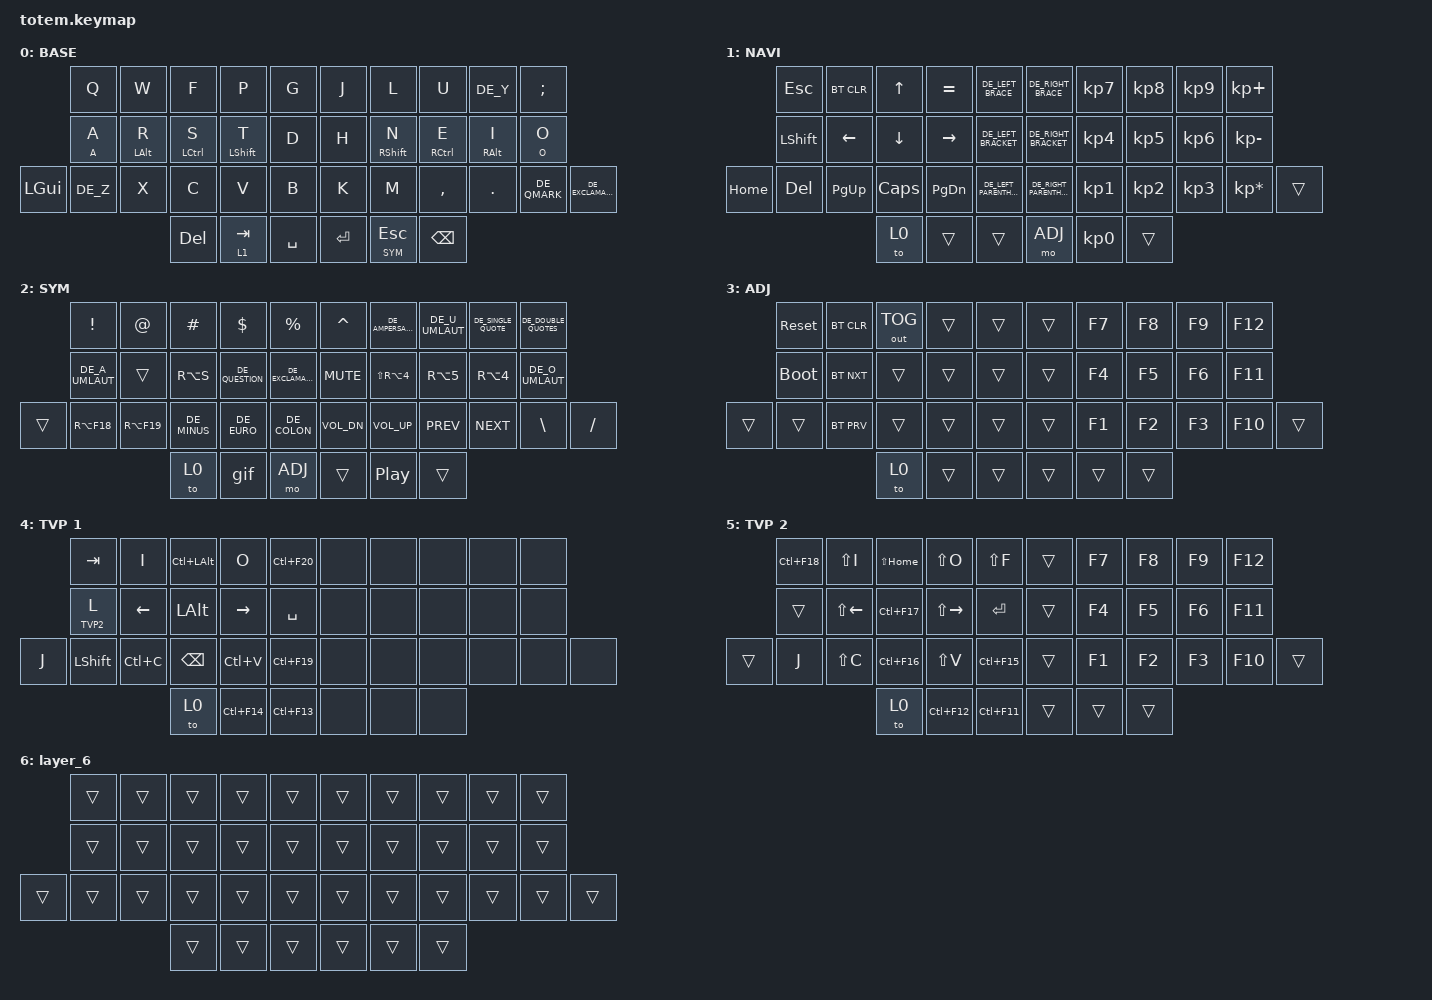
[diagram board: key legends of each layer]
//
//                                                        ▀▀▀▀▀     ▀▀▀▀▀          ▀▀█▀▀
//                                                        ▄▀▀▀▄  ▄  ▄▀▀▀▄  ▄  ▄▀▀▀▄  █  ▄▀▀▀▄
//                                                        █   █  █  █   █  █  █   █  █  █   █
//                                                         ▀▀▀   █   ▀▀▀   █   ▀▀▀   ▀   ▀▀▀
//                                                               █      ▄▄▄█▄▄▄    █   █  
//                                                               ▀      █  █  █     █▄█
//                                                             ▀▀▀▀▀    █  █  █      ▀
//                                                                      ▀  ▀  ▀
//
// ▄▄▄▄▄▄▄▄▄▄▄▄▄▄▄▄▄▄▄▄▄▄▄▄▄▄▄▄▄▄▄▄▄▄▄▄▄▄▄▄▄▄▄▄▄▄▄▄▄▄▄▄▄▄▄▄▄▄▄▄▄▄▄▄▄▄▄▄▄▄▄▄▄▄▄▄▄▄▄▄▄▄▄▄▄▄▄▄▄▄▄▄▄▄▄▄▄▄▄▄▄▄▄▄▄▄▄▄▄▄▄▄▄▄▄▄▄▄▄▄▄▄▄▄▄▄▄▄▄▄▄▄▄▄▄▄▄▄▄▄▄▄▄▄▄▄▄▄▄

#include <behaviors.dtsi>
#include <dt-bindings/zmk/bt.h>
#include <dt-bindings/zmk/keys.h>
#include <dt-bindings/zmk/outputs.h>
#include "keys_de.h"

#define BASE 0
#define NAV  1
#define SYM  2
#define ADJ  3
#define TVP1 4
#define TVP2 5

&mt {
    quick-tap-ms = <100>;
    global-quick-tap;
    flavor = "tap-preferred";
    tapping-term-ms = <170>;
};

/ {
    combos {
        compatible = "zmk,combos";

        combo_esc {
            timeout-ms = <50>;
            key-positions = <0 1>;
            bindings = <&kp ESC>;
        };

        combo_tvp {
            timeout-ms = <100>;
            key-positions = <11 12 13>;
            bindings = <&tog TVP1>;
        };
    };

    macros {
        gif: gif {
            label = "giphy";
            compatible = "zmk,behavior-macro";
            #binding-cells = <0>;
            bindings =
                <&macro_press>,
                <&kp LSHFT>,
                <&macro_tap>,
                <&kp N2>,
                <&macro_release>,
                <&kp LSHFT>,
                <&macro_tap>,
                <&kp G &kp I &kp F>;
        };
    };

    keymap {
        compatible = "zmk,keymap";

        // ▄▄▄▄▄▄▄▄▄▄▄▄▄▄▄▄▄▄▄▄▄▄▄▄▄▄▄▄▄▄▄▄▄▄▄▄▄▄▄▄▄▄▄▄▄▄▄▄▄▄▄▄▄▄▄▄▄▄▄▄▄▄▄▄▄▄▄▄▄▄▄▄▄▄▄▄▄▄▄▄▄▄▄▄▄▄▄▄▄▄▄▄▄▄▄▄▄▄▄▄▄▄▄▄▄▄▄▄▄▄▄▄▄▄▄▄▄▄▄▄▄▄▄▄▄▄▄▄▄▄▄▄▄▄▄▄▄▄▄▄▄▄▄▄▄▄▄▄▄

        base_layer {
            // ┏━━━━━━━━━━━━━━━━━━━━━━━━━━━━━━━━━━━━━━━┓

            label = "BASE";

            // ┗━━━━━━━━━━━━━━━━━━━━━━━━━━━━━━━━━━━━━━━┛
            //             ┏━━━━━━━━━━━┳━━━━━━━━━━━┳━━━━━━━━━━━┳━━━━━━━━━━━┳━━━━━━━━━━━┓   ┏━━━━━━━━━━━┳━━━━━━━━━━━┳━━━━━━━━━━━┳━━━━━━━━━━━┳━━━━━━━━━━━┓
            //             ┃     Q     ┃     W     ┃     F     ┃     P     ┃     G     ┃   ┃     J     ┃     L     ┃     U     ┃     Y     ┃     ;     ┃
            //             ┣━━━━━━━━━━━╋━━━━━━━━━━━╋━━━━━━━━━━━╋━━━━━━━━━━━╋━━━━━━━━━━━┫   ┣━━━━━━━━━━━╋━━━━━━━━━━━╋━━━━━━━━━━━╋━━━━━━━━━━━╋━━━━━━━━━━━┫
            //             ┃     A     ┃     R     ┃     S     ┃     T     ┃     D     ┃   ┃     H     ┃     N     ┃     E     ┃     I     ┃     O     ┃
            // ┏━━━━━━━━━━━╋━━━━━━━━━━━╋━━━━━━━━━━━╋━━━━━━━━━━━╋━━━━━━━━━━━╋━━━━━━━━━━━┫   ┣━━━━━━━━━━━╋━━━━━━━━━━━╋━━━━━━━━━━━╋━━━━━━━━━━━╋━━━━━━━━━━━╋━━━━━━━━━━━┓
            // ┃     Q     ┃     Z     ┃     X     ┃     C     ┃     V     ┃     B     ┃   ┃     K     ┃     M     ┃     ,     ┃     .     ┃     /     ┃     \     ┃
            // ┗━━━━━━━━━━━┻━━━━━━━━━━━┻━━━━━━━━━━━╋━━━━━━━━━━━╋━━━━━━━━━━━╋━━━━━━━━━━━┫   ┣━━━━━━━━━━━╋━━━━━━━━━━━╋━━━━━━━━━━━╋━━━━━━━━━━━┻━━━━━━━━━━━┻━━━━━━━━━━━┛
            //                                     ┃    DEL    ┃    TAB    ┃    SPC    ┃   ┃   ENTER   ┃           ┃   BSPC    ┃
            //                                     ┗━━━━━━━━━━━┻━━━━━━━━━━━┻━━━━━━━━━━━┛   ┗━━━━━━━━━━━┻━━━━━━━━━━━┻━━━━━━━━━━━┛

            bindings = <
              &kp Q     &kp W       &kp F        &kp P        &kp G        &kp J    &kp L        &kp U        &kp DE_Y    &kp SEMI
              &mt A A   &mt LALT R  &mt LCTRL S  &mt LSHFT T  &kp D        &kp H    &mt RSHFT N  &mt RCTRL E  &mt RALT I  &mt O O
&kp LEFT_GUI  &kp DE_Z  &kp X       &kp C        &kp V        &kp B        &kp K    &kp M        &kp COMMA    &kp DOT     &kp DE_QMARK  &kp DE_EXCLAMATION
                                    &kp DEL      &lt 1 TAB    &kp SPACE    &kp RET  &lt SYM ESC  &kp BSPC
            >;
        };

        // ▄▄▄▄▄▄▄▄▄▄▄▄▄▄▄▄▄▄▄▄▄▄▄▄▄▄▄▄▄▄▄▄▄▄▄▄▄▄▄▄▄▄▄▄▄▄▄▄▄▄▄▄▄▄▄▄▄▄▄▄▄▄▄▄▄▄▄▄▄▄▄▄▄▄▄▄▄▄▄▄▄▄▄▄▄▄▄▄▄▄▄▄▄▄▄▄▄▄▄▄▄▄▄▄▄▄▄▄▄▄▄▄▄▄▄▄▄▄▄▄▄▄▄▄▄▄▄▄▄▄▄▄▄▄▄▄▄▄▄▄▄▄▄▄▄▄▄▄▄

        nav_layer {
            // ┏━━━━━━━━━━━━━━━━━━━━━━━━━━━━━━━━━━━━━━━┓

            label = "NAVI";

            // ┗━━━━━━━━━━━━━━━━━━━━━━━━━━━━━━━━━━━━━━━┛
            //             ┏━━━━━━━━━━━┳━━━━━━━━━━━┳━━━━━━━━━━━┳━━━━━━━━━━━┳━━━━━━━━━━━┓   ┏━━━━━━━━━━━┳━━━━━━━━━━━┳━━━━━━━━━━━┳━━━━━━━━━━━┳━━━━━━━━━━━┓
            //             ┃           ┃           ┃     UP    ┃           ┃     {     ┃   ┃     }     ┃     7     ┃     8     ┃     9     ┃     +     ┃
            //             ┣━━━━━━━━━━━╋━━━━━━━━━━━╋━━━━━━━━━━━╋━━━━━━━━━━━╋━━━━━━━━━━━┫   ┣━━━━━━━━━━━╋━━━━━━━━━━━╋━━━━━━━━━━━╋━━━━━━━━━━━╋━━━━━━━━━━━┫
            //             ┃   SHIFT   ┃   LEFT    ┃    DOWN   ┃   RIGHT   ┃     [     ┃   ┃     ]     ┃     4     ┃     5     ┃     6     ┃     -     ┃
            // ┏━━━━━━━━━━━╋━━━━━━━━━━━╋━━━━━━━━━━━╋━━━━━━━━━━━╋━━━━━━━━━━━╋━━━━━━━━━━━┫   ┣━━━━━━━━━━━╋━━━━━━━━━━━╋━━━━━━━━━━━╋━━━━━━━━━━━╋━━━━━━━━━━━╋━━━━━━━━━━━┓
            // ┃           ┃           ┃   P UP    ┃  C LOCK   ┃  P DOWN   ┃     (     ┃   ┃     )     ┃     1     ┃     2     ┃     3     ┃     *     ┃           ┃
            // ┗━━━━━━━━━━━┻━━━━━━━━━━━┻━━━━━━━━━━━╋━━━━━━━━━━━╋━━━━━━━━━━━╋━━━━━━━━━━━┫   ┣━━━━━━━━━━━╋━━━━━━━━━━━╋━━━━━━━━━━━╋━━━━━━━━━━━┻━━━━━━━━━━━┻━━━━━━━━━━━┛
            //                                     ┃           ┃    TAB    ┃    SPC    ┃   ┃    DEL    ┃     0     ┃           ┃
            //                                     ┗━━━━━━━━━━━┻━━━━━━━━━━━┻━━━━━━━━━━━┛   ┗━━━━━━━━━━━┻━━━━━━━━━━━┻━━━━━━━━━━━┛

            bindings = <
          &kp ESC    &bt BT_CLR  &kp UP    &kp EQUAL  &kp DE_LEFT_BRACE          &kp DE_RIGHT_BRACE        &kp KP_N7  &kp KP_N8  &kp KP_N9  &kp KP_PLUS
          &kp LSHFT  &kp LEFT    &kp DOWN  &kp RIGHT  &kp DE_LEFT_BRACKET        &kp DE_RIGHT_BRACKET      &kp KP_N4  &kp KP_N5  &kp KP_N6  &kp KP_MINUS
&kp HOME  &kp DEL    &kp PG_UP   &kp CAPS  &kp PG_DN  &kp DE_LEFT_PARENTHESIS    &kp DE_RIGHT_PARENTHESIS  &kp KP_N1  &kp KP_N2  &kp KP_N3  &kp KP_MULTIPLY  &trans
                                 &to 0     &trans     &trans                     &mo ADJ                   &kp KP_N0  &trans
            >;
        };

        // ▄▄▄▄▄▄▄▄▄▄▄▄▄▄▄▄▄▄▄▄▄▄▄▄▄▄▄▄▄▄▄▄▄▄▄▄▄▄▄▄▄▄▄▄▄▄▄▄▄▄▄▄▄▄▄▄▄▄▄▄▄▄▄▄▄▄▄▄▄▄▄▄▄▄▄▄▄▄▄▄▄▄▄▄▄▄▄▄▄▄▄▄▄▄▄▄▄▄▄▄▄▄▄▄▄▄▄▄▄▄▄▄▄▄▄▄▄▄▄▄▄▄▄▄▄▄▄▄▄▄▄▄▄▄▄▄▄▄▄▄▄▄▄▄▄▄▄▄▄

        sim_layer {
            // ┏━━━━━━━━━━━━━━━━━━━━━━━━━━━━━━━━━━━━━━━┓

            label = "SYM";

            // ┗━━━━━━━━━━━━━━━━━━━━━━━━━━━━━━━━━━━━━━━┛
            //             ┏━━━━━━━━━━━┳━━━━━━━━━━━┳━━━━━━━━━━━┳━━━━━━━━━━━┳━━━━━━━━━━━┓   ┏━━━━━━━━━━━┳━━━━━━━━━━━┳━━━━━━━━━━━┳━━━━━━━━━━━┳━━━━━━━━━━━┓
            //             ┃     !     ┃     @     ┃     #     ┃     $     ┃     %     ┃   ┃     ˆ     ┃     &     ┃     Ü     ┃     '     ┃     "     ┃
            //             ┣━━━━━━━━━━━╋━━━━━━━━━━━╋━━━━━━━━━━━╋━━━━━━━━━━━╋━━━━━━━━━━━┫   ┣━━━━━━━━━━━╋━━━━━━━━━━━╋━━━━━━━━━━━╋━━━━━━━━━━━╋━━━━━━━━━━━┫
            //             ┃     Ä     ┃           ┃    SZ     ┃           ┃           ┃   ┃   MUTE    ┃   YEN     ┃   EURO    ┃  POUND    ┃     Ö     ┃
            // ┏━━━━━━━━━━━╋━━━━━━━━━━━╋━━━━━━━━━━━╋━━━━━━━━━━━╋━━━━━━━━━━━╋━━━━━━━━━━━┫   ┣━━━━━━━━━━━╋━━━━━━━━━━━╋━━━━━━━━━━━╋━━━━━━━━━━━╋━━━━━━━━━━━╋━━━━━━━━━━━┓
            // ┃           ┃  EMAIL1   ┃  EMAIL2   ┃           ┃           ┃           ┃   ┃   VOL-    ┃   VOL+    ┃   LAST    ┃   NEXT    ┃     \     ┃           ┃
            // ┗━━━━━━━━━━━┻━━━━━━━━━━━┻━━━━━━━━━━━╋━━━━━━━━━━━╋━━━━━━━━━━━╋━━━━━━━━━━━┫   ┣━━━━━━━━━━━╋━━━━━━━━━━━╋━━━━━━━━━━━╋━━━━━━━━━━━┻━━━━━━━━━━━┻━━━━━━━━━━━┛
            //                                     ┃           ┃    GIF    ┃    ADJ    ┃   ┃           ┃           ┃           ┃
            //                                     ┗━━━━━━━━━━━┻━━━━━━━━━━━┻━━━━━━━━━━━┛   ┗━━━━━━━━━━━┻━━━━━━━━━━━┻━━━━━━━━━━━┛

            bindings = <
        &kp EXCL         &kp AT       &kp HASH      &kp DLLR         &kp PRCNT             &kp CARET     &kp DE_AMPERSAND  &kp DE_U_UMLAUT  &kp DE_SINGLE_QUOTE  &kp DE_DOUBLE_QUOTES
        &kp DE_A_UMLAUT  &trans       &kp RA(S)     &kp DE_QUESTION  &kp DE_EXCLAMATION    &kp C_MUTE    &kp LS(RA(N4))    &kp RA(N5)       &kp RA(N4)           &kp DE_O_UMLAUT
&trans  &kp RA(F18)      &kp RA(F19)  &kp DE_MINUS  &kp DE_EURO      &kp DE_COLON          &kp C_VOL_DN  &kp C_VOL_UP      &kp C_PREV       &kp C_NEXT           &kp BSLH              &kp SLASH
                                      &to 0         &gif             &mo ADJ               &trans        &kp C_PP          &trans
            >;
        };

        // ▄▄▄▄▄▄▄▄▄▄▄▄▄▄▄▄▄▄▄▄▄▄▄▄▄▄▄▄▄▄▄▄▄▄▄▄▄▄▄▄▄▄▄▄▄▄▄▄▄▄▄▄▄▄▄▄▄▄▄▄▄▄▄▄▄▄▄▄▄▄▄▄▄▄▄▄▄▄▄▄▄▄▄▄▄▄▄▄▄▄▄▄▄▄▄▄▄▄▄▄▄▄▄▄▄▄▄▄▄▄▄▄▄▄▄▄▄▄▄▄▄▄▄▄▄▄▄▄▄▄▄▄▄▄▄▄▄▄▄▄▄▄▄▄▄▄▄▄▄

        adjust_layer {
            // ┏━━━━━━━━━━━━━━━━━━━━━━━━━━━━━━━━━━━━━━━┓

            label = "ADJ";

            // ┗━━━━━━━━━━━━━━━━━━━━━━━━━━━━━━━━━━━━━━━┛
            //             ┏━━━━━━━━━━━┳━━━━━━━━━━━┳━━━━━━━━━━━┳━━━━━━━━━━━┳━━━━━━━━━━━┓   ┏━━━━━━━━━━━┳━━━━━━━━━━━┳━━━━━━━━━━━┳━━━━━━━━━━━┳━━━━━━━━━━━┓
            //             ┃   RESET   ┃ BT CLEAR  ┃  OUT TOG  ┃           ┃           ┃   ┃           ┃    F7     ┃    F8     ┃    F9     ┃    F12    ┃
            //             ┣━━━━━━━━━━━╋━━━━━━━━━━━╋━━━━━━━━━━━╋━━━━━━━━━━━╋━━━━━━━━━━━┫   ┣━━━━━━━━━━━╋━━━━━━━━━━━╋━━━━━━━━━━━╋━━━━━━━━━━━╋━━━━━━━━━━━┫
            //             ┃ BOOTLOAD  ┃ BT NEXT   ┃           ┃           ┃           ┃   ┃           ┃    F4     ┃    F5     ┃    F6     ┃    F11    ┃
            // ┏━━━━━━━━━━━╋━━━━━━━━━━━╋━━━━━━━━━━━╋━━━━━━━━━━━╋━━━━━━━━━━━╋━━━━━━━━━━━┫   ┣━━━━━━━━━━━╋━━━━━━━━━━━╋━━━━━━━━━━━╋━━━━━━━━━━━╋━━━━━━━━━━━╋━━━━━━━━━━━┓
            // ┃           ┃           ┃ BT PREV   ┃           ┃           ┃           ┃   ┃           ┃    F1     ┃    F2     ┃    F3     ┃    F10    ┃           ┃
            // ┗━━━━━━━━━━━┻━━━━━━━━━━━┻━━━━━━━━━━━╋━━━━━━━━━━━╋━━━━━━━━━━━╋━━━━━━━━━━━┫   ┣━━━━━━━━━━━╋━━━━━━━━━━━╋━━━━━━━━━━━╋━━━━━━━━━━━┻━━━━━━━━━━━┻━━━━━━━━━━━┛
            //                                     ┃           ┃           ┃           ┃   ┃           ┃           ┃           ┃
            //                                     ┗━━━━━━━━━━━┻━━━━━━━━━━━┻━━━━━━━━━━━┛   ┗━━━━━━━━━━━┻━━━━━━━━━━━┻━━━━━━━━━━━┛

            bindings = <
        &sys_reset   &bt BT_CLR  &out OUT_TOG  &trans  &trans    &trans  &kp F7  &kp F8  &kp F9  &kp F12
        &bootloader  &bt BT_NXT  &trans        &trans  &trans    &trans  &kp F4  &kp F5  &kp F6  &kp F11
&trans  &trans       &bt BT_PRV  &trans        &trans  &trans    &trans  &kp F1  &kp F2  &kp F3  &kp F10  &trans
                                 &to 0         &trans  &trans    &trans  &trans  &trans
            >;
        };

        // ▄▄▄▄▄▄▄▄▄▄▄▄▄▄▄▄▄▄▄▄▄▄▄▄▄▄▄▄▄▄▄▄▄▄▄▄▄▄▄▄▄▄▄▄▄▄▄▄▄▄▄▄▄▄▄▄▄▄▄▄▄▄▄▄▄▄▄▄▄▄▄▄▄▄▄▄▄▄▄▄▄▄▄▄▄▄▄▄▄▄▄▄▄▄▄▄▄▄▄▄▄▄▄▄▄▄▄▄▄▄▄▄▄▄▄▄▄▄▄▄▄▄▄▄▄▄▄▄▄▄▄▄▄▄▄▄▄▄▄▄▄▄▄▄▄▄▄▄▄

        tvp1_layer {
            // ┏━━━━━━━━━━━━━━━━━━━━━━━━━━━━━━━━━━━━━━━┓

            label = "TVP 1";

            // ┗━━━━━━━━━━━━━━━━━━━━━━━━━━━━━━━━━━━━━━━┛
            //             ┏━━━━━━━━━━━┳━━━━━━━━━━━┳━━━━━━━━━━━┳━━━━━━━━━━━┳━━━━━━━━━━━┓   ┏━━━━━━━━━━━┳━━━━━━━━━━━┳━━━━━━━━━━━┳━━━━━━━━━━━┳━━━━━━━━━━━┓
            //             ┃ NEXT FILE ┃ MARK IN   ┃ ROTATE    ┃ MARK OUT  ┃ SHOW SNAP ┃   ┃           ┃           ┃           ┃           ┃           ┃
            //             ┣━━━━━━━━━━━╋━━━━━━━━━━━╋━━━━━━━━━━━╋━━━━━━━━━━━╋━━━━━━━━━━━┫   ┣━━━━━━━━━━━╋━━━━━━━━━━━╋━━━━━━━━━━━╋━━━━━━━━━━━╋━━━━━━━━━━━┫
            //             ┃ TVP II    ┃ LEFT      ┃ PAN       ┃ RIGHT     ┃ PLAY/FLIP ┃   ┃           ┃           ┃           ┃           ┃           ┃
            // ┏━━━━━━━━━━━╋━━━━━━━━━━━╋━━━━━━━━━━━╋━━━━━━━━━━━╋━━━━━━━━━━━╋━━━━━━━━━━━┫   ┣━━━━━━━━━━━╋━━━━━━━━━━━╋━━━━━━━━━━━╋━━━━━━━━━━━╋━━━━━━━━━━━╋━━━━━━━━━━━┓
            // ┃ FULLSCR   ┃ SHIFT     ┃ COPY      ┃ DELETE    ┃ PASTE     ┃ IMG MARK  ┃   ┃           ┃           ┃           ┃           ┃           ┃           ┃
            // ┗━━━━━━━━━━━┻━━━━━━━━━━━┻━━━━━━━━━━━╋━━━━━━━━━━━╋━━━━━━━━━━━╋━━━━━━━━━━━┫   ┣━━━━━━━━━━━╋━━━━━━━━━━━╋━━━━━━━━━━━╋━━━━━━━━━━━┻━━━━━━━━━━━┻━━━━━━━━━━━┛
            //                                     ┃           ┃ UNDO/SAVE ┃  SEL/MOV  ┃   ┃           ┃           ┃           ┃
            //                                     ┗━━━━━━━━━━━┻━━━━━━━━━━━┻━━━━━━━━━━━┛   ┗━━━━━━━━━━━┻━━━━━━━━━━━┻━━━━━━━━━━━┛

            bindings = <
       &kp TAB     &kp I      &kp LC(LALT)  &kp O        &kp LC(F20)    &none  &none  &none  &none  &none
       &lt TVP2 L  &kp LEFT   &kp LALT      &kp RIGHT    &kp SPACE      &none  &none  &none  &none  &none
&kp J  &kp LSHFT   &kp LC(C)  &kp BSPC      &kp LC(V)    &kp LC(F19)    &none  &none  &none  &none  &none  &none
                              &to 0         &kp LC(F14)  &kp LC(F13)    &none  &none  &none
            >;
        };

        // ▄▄▄▄▄▄▄▄▄▄▄▄▄▄▄▄▄▄▄▄▄▄▄▄▄▄▄▄▄▄▄▄▄▄▄▄▄▄▄▄▄▄▄▄▄▄▄▄▄▄▄▄▄▄▄▄▄▄▄▄▄▄▄▄▄▄▄▄▄▄▄▄▄▄▄▄▄▄▄▄▄▄▄▄▄▄▄▄▄▄▄▄▄▄▄▄▄▄▄▄▄▄▄▄▄▄▄▄▄▄▄▄▄▄▄▄▄▄▄▄▄▄▄▄▄▄▄▄▄▄▄▄▄▄▄▄▄▄▄▄▄▄▄▄▄▄▄▄▄

        tvp2_layer {
            // ┏━━━━━━━━━━━━━━━━━━━━━━━━━━━━━━━━━━━━━━━┓

            label = "TVP 2";

            // ┗━━━━━━━━━━━━━━━━━━━━━━━━━━━━━━━━━━━━━━━┛
            //             ┏━━━━━━━━━━━┳━━━━━━━━━━━┳━━━━━━━━━━━┳━━━━━━━━━━━┳━━━━━━━━━━━┓   ┏━━━━━━━━━━━┳━━━━━━━━━━━┳━━━━━━━━━━━┳━━━━━━━━━━━┳━━━━━━━━━━━┓
            //             ┃ SOLO      ┃ TOGGLE IN ┃ RESET ROT ┃ TOGGLE OUT┃ TAKE SNAP ┃   ┃           ┃           ┃           ┃           ┃           ┃
            //             ┣━━━━━━━━━━━╋━━━━━━━━━━━╋━━━━━━━━━━━╋━━━━━━━━━━━╋━━━━━━━━━━━┫   ┣━━━━━━━━━━━╋━━━━━━━━━━━╋━━━━━━━━━━━╋━━━━━━━━━━━╋━━━━━━━━━━━┫
            //             ┃ ---       ┃ LAST KEY  ┃ NEW KEY   ┃ NEXT KEY  ┃ ENTER     ┃   ┃           ┃           ┃           ┃           ┃           ┃
            // ┏━━━━━━━━━━━╋━━━━━━━━━━━╋━━━━━━━━━━━╋━━━━━━━━━━━╋━━━━━━━━━━━╋━━━━━━━━━━━┫   ┣━━━━━━━━━━━╋━━━━━━━━━━━╋━━━━━━━━━━━╋━━━━━━━━━━━╋━━━━━━━━━━━╋━━━━━━━━━━━┓
            // ┃           ┃ FULLSCR   ┃ CPY2BRUSH ┃ DEL HEAD  ┃ PSTinPLACE┃ BOOK MARK ┃   ┃           ┃           ┃           ┃           ┃           ┃           ┃
            // ┗━━━━━━━━━━━┻━━━━━━━━━━━┻━━━━━━━━━━━╋━━━━━━━━━━━╋━━━━━━━━━━━╋━━━━━━━━━━━┫   ┣━━━━━━━━━━━╋━━━━━━━━━━━╋━━━━━━━━━━━╋━━━━━━━━━━━┻━━━━━━━━━━━┻━━━━━━━━━━━┛
            //                                     ┃           ┃ REDO/SAV1 ┃TRANS/WARP ┃   ┃           ┃           ┃           ┃
            //                                     ┗━━━━━━━━━━━┻━━━━━━━━━━━┻━━━━━━━━━━━┛   ┗━━━━━━━━━━━┻━━━━━━━━━━━┻━━━━━━━━━━━┛

            bindings = <
        &kp LC(F18)  &kp LS(I)     &kp LS(HOME)  &kp LS(O)      &kp LS(F)      &trans  &kp F7  &kp F8  &kp F9  &kp F12
        &trans       &kp LS(LEFT)  &kp LC(F17)   &kp LS(RIGHT)  &kp RET        &trans  &kp F4  &kp F5  &kp F6  &kp F11
&trans  &kp J        &kp LS(C)     &kp LC(F16)   &kp LS(V)      &kp LC(F15)    &trans  &kp F1  &kp F2  &kp F3  &kp F10  &trans
                                   &to 0         &kp LC(F12)    &kp LC(F11)    &trans  &trans  &trans
            >;
        };

        layer_6 {
            bindings = <
        &trans  &trans  &trans  &trans  &trans    &trans  &trans  &trans  &trans  &trans
        &trans  &trans  &trans  &trans  &trans    &trans  &trans  &trans  &trans  &trans
&trans  &trans  &trans  &trans  &trans  &trans    &trans  &trans  &trans  &trans  &trans  &trans
                        &trans  &trans  &trans    &trans  &trans  &trans
            >;
        };
    };
};
